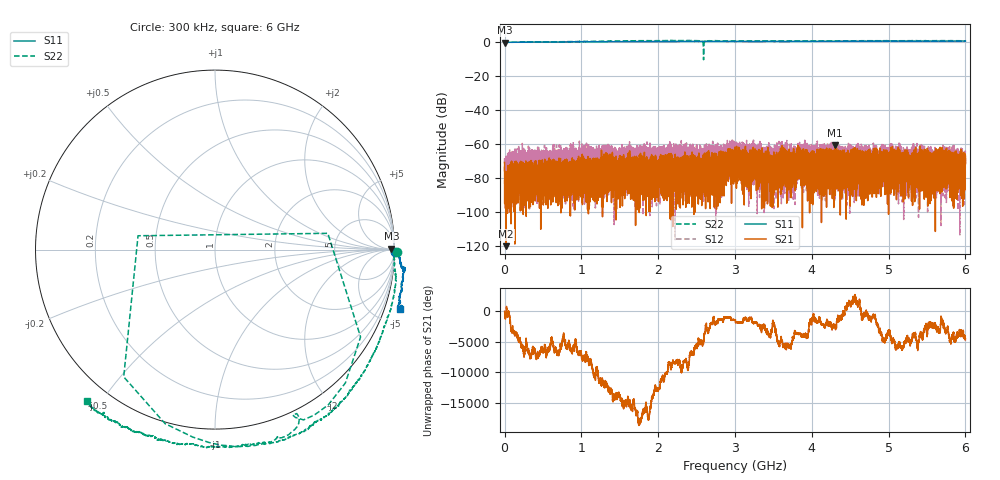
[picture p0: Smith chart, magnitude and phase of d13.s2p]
!Agilent Technologies,N5230C,SG49000117,A.08.50.07
!Agilent N5230C: A.08.50.07
!Date: Thursday, May 16, 2024 19:22:39
!Correction: S11(Full 2 Port(1,2))
!S21(Full 2 Port(1,2))
!S12(Full 2 Port(1,2))
!S22(Full 2 Port(1,2))
!S2P File: Measurements: S11, S21, S12, S22:
# Hz S  MA  R 50
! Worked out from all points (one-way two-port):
!   20001 points, 300 kHz to 6 GHz, reference 50 ohm
!   highest |S21| = -60.52 dB at 4.304 GHz (marker M1); lowest = -119.9 dB at 18 MHz (marker M2)
!   lowest |S11| = -0.1 dB at 600 kHz (marker M3), VSWR 118.96, Z = 5.32e+03 + j1.83e+03 ohm
!   |S11| at or under -10 dB: nowhere
!   |S22| runs from -10.2 to 1.1 dB; largest |S21 - S12| = 0.0015
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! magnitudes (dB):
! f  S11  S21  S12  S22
! 300 kHz  0.0  -70.7  -76.2  0.1
! 600 kHz  -0.1  -84.4  -67.6  -0.3
! 18 MHz  0.0  -119.9  -76.9  0.0
! 123.3 MHz  0.0  -77.2  -75.4  0.0
! 1 GHz  0.3  -73.7  -83.4  0.5
! 2 GHz  0.5  -85.1  -71.0  1.0
! 2.133 GHz  0.5  -70.4  -61.9  1.0
! 2.577 GHz  0.5  -73.9  -76.3  0.5
! 3 GHz  0.5  -78.2  -64.0  0.8
! 3.295 GHz  0.5  -82.5  -64.9  0.8
! 3.372 GHz  0.5  -72.5  -74.0  0.8
! 3.6 GHz  0.5  -77.5  -68.4  0.8
! 3.767 GHz  0.5  -72.0  -78.2  0.9
! 3.828 GHz  0.6  -65.5  -63.0  0.8
! 4 GHz  0.5  -71.3  -66.0  0.9
! 4.304 GHz  0.6  -60.5  -64.5  0.9
! 4.882 GHz  0.7  -65.4  -66.4  0.9
! 5 GHz  0.7  -66.5  -70.1  0.9
! 5.249 GHz  0.7  -74.7  -71.2  0.9
! 5.326 GHz  0.7  -66.5  -63.5  1.0
! 5.591 GHz  0.7  -71.1  -72.6  0.9
! 6 GHz  0.7  -70.8  -69.1  0.9
